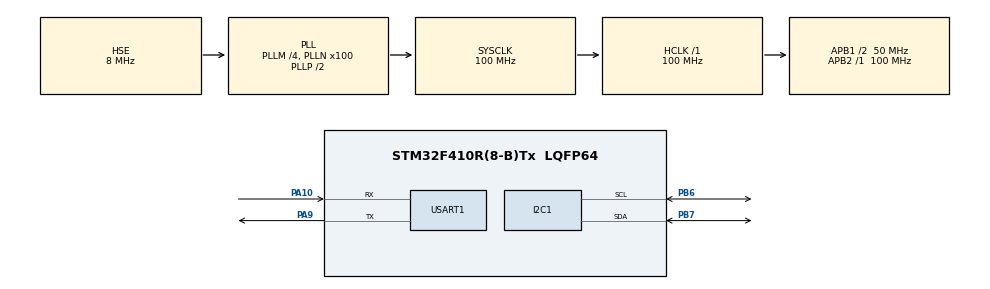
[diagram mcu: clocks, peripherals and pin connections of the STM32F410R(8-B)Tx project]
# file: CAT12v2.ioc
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Mcu.Family=STM32F4
Mcu.Name=STM32F410R(8-B)Tx
Mcu.Package=LQFP64
NVIC.PriorityGroup=NVIC_PRIORITYGROUP_4
PA10.Mode=Asynchronous
PA10.Signal=USART1_RX
PA13.Mode=Serial_Wire
PA13.Signal=SYS_JTMS-SWDIO
PA14.Mode=Serial_Wire
PA14.Signal=SYS_JTCK-SWCLK
PA9.Mode=Asynchronous
PA9.Signal=USART1_TX
PB6.Mode=I2C
PB6.Signal=I2C1_SCL
PB7.Mode=I2C
PB7.Signal=I2C1_SDA
PH0\ -\ OSC_IN.Mode=HSE-External-Clock-Source
PH0\ -\ OSC_IN.Signal=RCC_OSC_IN
PH1\ -\ OSC_OUT.Mode=HSE-External-Clock-Source
PH1\ -\ OSC_OUT.Signal=RCC_OSC_OUT
ProjectManager.HeapSize=0x200
ProjectManager.StackSize=0x400
ProjectManager.TargetToolchain=MDK-ARM V5.32
RCC.48MHZClocksFreq_Value=50000000
RCC.AHBFreq_Value=100000000
RCC.APB1CLKDivider=RCC_HCLK_DIV2
RCC.APB1Freq_Value=50000000
RCC.APB1TimFreq_Value=100000000
RCC.APB2Freq_Value=100000000
RCC.APB2TimFreq_Value=100000000
RCC.CortexFreq_Value=100000000
RCC.HCLKFreq_Value=100000000
RCC.HSE_VALUE=8000000
RCC.HSI_VALUE=16000000
RCC.LSE_VALUE=32768
RCC.PLLM=4
RCC.PLLN=100
RCC.PLLSourceVirtual=RCC_PLLSOURCE_HSE
RCC.SYSCLKFreq_VALUE=100000000
RCC.SYSCLKSource=RCC_SYSCLKSOURCE_PLLCLK
RCC.VCOOutputFreq_Value=200000000
USART1.VirtualMode=VM_ASYNC
board=custom

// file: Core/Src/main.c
/* USER CODE BEGIN Header */
/**
  ******************************************************************************
  * @file           : main.c
  * @brief          : Main program body
  ******************************************************************************
  * @attention
  *
  * Copyright (c) 2026 STMicroelectronics.
  * All rights reserved.
  *
  * This software is licensed under terms that can be found in the LICENSE file
  * in the root directory of this software component.
  * If no LICENSE file comes with this software, it is provided AS-IS.
  *
  ******************************************************************************
  */
/* USER CODE END Header */
#include "main.h"

/* USER CODE BEGIN Includes */
#include "bme280.h"
#include <stdio.h>
/* USER CODE END Includes */

/* USER CODE BEGIN PD */
#define I2C_TIMEOUT_MS   100U
/* USER CODE END PD */

I2C_HandleTypeDef hi2c1;

UART_HandleTypeDef huart1;

/* USER CODE BEGIN PV */
struct bme280_dev dev;
struct bme280_settings settings;
struct bme280_data comp_data;
int8_t rslt = BME280_OK;
uint8_t chip_id = 0;
uint32_t meas_delay_us = 0;

/* I2C address of the sensor: 0x76 (SDO low) or 0x77 (SDO high) */
static uint8_t dev_addr = BME280_I2C_ADDR_PRIM;

/* Final calculated values */
float temperature, pressure, humidity;
/* USER CODE END PV */

void SystemClock_Config(void);
static void MX_GPIO_Init(void);
static void MX_I2C1_Init(void);
static void MX_USART1_UART_Init(void);
/* USER CODE BEGIN PFP */
int8_t user_i2c_read(uint8_t reg_addr, uint8_t *reg_data, uint32_t len, void *intf_ptr);
int8_t user_i2c_write(uint8_t reg_addr, const uint8_t *reg_data, uint32_t len, void *intf_ptr);
void user_delay_us(uint32_t period, void *intf_ptr);
/* USER CODE END PFP */

int main(void)
{

  /* MCU Configuration--------------------------------------------------------*/

  /* Reset of all peripherals, Initializes the Flash interface and the Systick. */
  HAL_Init();

  /* Configure the system clock */
  SystemClock_Config();

  /* Initialize all configured peripherals */
  MX_GPIO_Init();
  MX_I2C1_Init();
  MX_USART1_UART_Init();

  /* USER CODE BEGIN 2 */

  /* Hook the Bosch driver up to the STM32 HAL I2C functions */
  dev.intf_ptr = &dev_addr;
  dev.intf     = BME280_I2C_INTF;
  dev.read     = user_i2c_read;
  dev.write    = user_i2c_write;
  dev.delay_us = user_delay_us;

  /* Read chip ID (register 0xD0) and check it */
  rslt = bme280_get_regs(BME280_REG_CHIP_ID, &chip_id, 1, &dev);
  if (rslt != BME280_OK || chip_id != BME280_CHIP_ID)
  {
    printf("BME280 not found (rslt=%d, chip_id=0x%02X)\r\n", rslt, chip_id);
    Error_Handler();
  }

  /* Soft reset and load trim (calibration) data */
  rslt = bme280_init(&dev);
  if (rslt != BME280_OK)
  {
    printf("bme280_init failed (rslt=%d)\r\n", rslt);
    Error_Handler();
  }

  /* Configure sensor: oversampling, filter, standby time */
  settings.osr_h        = BME280_OVERSAMPLING_1X;
  settings.osr_p        = BME280_OVERSAMPLING_1X;
  settings.osr_t        = BME280_OVERSAMPLING_1X;
  settings.filter       = BME280_FILTER_COEFF_OFF;
  settings.standby_time = BME280_STANDBY_TIME_1000_MS;

  rslt = bme280_set_sensor_settings(BME280_SEL_OSR_PRESS | BME280_SEL_OSR_TEMP |
                                    BME280_SEL_OSR_HUM   | BME280_SEL_FILTER   |
                                    BME280_SEL_STANDBY, &settings, &dev);
  if (rslt != BME280_OK)
  {
    printf("bme280_set_sensor_settings failed (rslt=%d)\r\n", rslt);
    Error_Handler();
  }

  /* Sensor mode: normal = continuous measurement cycle */
  rslt = bme280_set_sensor_mode(BME280_POWERMODE_NORMAL, &dev);
  if (rslt != BME280_OK)
  {
    printf("bme280_set_sensor_mode failed (rslt=%d)\r\n", rslt);
    Error_Handler();
  }

  /* Wait for the first conversion to complete */
  bme280_cal_meas_delay(&meas_delay_us, &settings);
  dev.delay_us(meas_delay_us, dev.intf_ptr);

  printf("BME280 ready (chip ID 0x%02X)\r\n", chip_id);

  /* USER CODE END 2 */

  /* Infinite loop */
  while (1)
  {

    /* USER CODE BEGIN 3 */
    /* Read raw data and apply Bosch compensation */
    rslt = bme280_get_sensor_data(BME280_ALL, &comp_data, &dev);

    if (rslt == BME280_OK)
    {
      /* Default build (BME280_DOUBLE_ENABLE): degC, Pa, %RH */
      temperature = (float)comp_data.temperature;        /* degC */
      pressure    = (float)comp_data.pressure / 100.0f;  /* Pa -> hPa */
      humidity    = (float)comp_data.humidity;           /* %RH */

      printf("T = %.2f C   P = %.2f hPa   H = %.2f %%\r\n",temperature, pressure, humidity);
    }
    else
    {
      printf("Read error (rslt=%d)\r\n", rslt);
    }

    HAL_Delay(1000); /* Poll once per second */
  }
  /* USER CODE END 3 */
}

void SystemClock_Config(void)
{
  RCC_OscInitTypeDef RCC_OscInitStruct = {0};
  RCC_ClkInitTypeDef RCC_ClkInitStruct = {0};

  /** Configure the main internal regulator output voltage
  */
  __HAL_RCC_PWR_CLK_ENABLE();
  __HAL_PWR_VOLTAGESCALING_CONFIG(PWR_REGULATOR_VOLTAGE_SCALE1);

  /** Initializes the RCC Oscillators according to the specified parameters
  * in the RCC_OscInitTypeDef structure.
  */
  RCC_OscInitStruct.OscillatorType = RCC_OSCILLATORTYPE_HSE;
  RCC_OscInitStruct.HSEState = RCC_HSE_BYPASS;
  RCC_OscInitStruct.PLL.PLLState = RCC_PLL_ON;
  RCC_OscInitStruct.PLL.PLLSource = RCC_PLLSOURCE_HSE;
  RCC_OscInitStruct.PLL.PLLM = 4;
  RCC_OscInitStruct.PLL.PLLN = 100;
  RCC_OscInitStruct.PLL.PLLP = RCC_PLLP_DIV2;
  RCC_OscInitStruct.PLL.PLLQ = 4;
  RCC_OscInitStruct.PLL.PLLR = 2;
  if (HAL_RCC_OscConfig(&RCC_OscInitStruct) != HAL_OK)
  {
    Error_Handler();
  }

  /** Initializes the CPU, AHB and APB buses clocks
  */
  RCC_ClkInitStruct.ClockType = RCC_CLOCKTYPE_HCLK|RCC_CLOCKTYPE_SYSCLK
                              |RCC_CLOCKTYPE_PCLK1|RCC_CLOCKTYPE_PCLK2;
  RCC_ClkInitStruct.SYSCLKSource = RCC_SYSCLKSOURCE_PLLCLK;
  RCC_ClkInitStruct.AHBCLKDivider = RCC_SYSCLK_DIV1;
  RCC_ClkInitStruct.APB1CLKDivider = RCC_HCLK_DIV2;
  RCC_ClkInitStruct.APB2CLKDivider = RCC_HCLK_DIV1;

  if (HAL_RCC_ClockConfig(&RCC_ClkInitStruct, FLASH_LATENCY_3) != HAL_OK)
  {
    Error_Handler();
  }
}

static void MX_I2C1_Init(void)
{

  hi2c1.Instance = I2C1;
  hi2c1.Init.ClockSpeed = 100000;
  hi2c1.Init.DutyCycle = I2C_DUTYCYCLE_2;
  hi2c1.Init.OwnAddress1 = 0;
  hi2c1.Init.AddressingMode = I2C_ADDRESSINGMODE_7BIT;
  hi2c1.Init.DualAddressMode = I2C_DUALADDRESS_DISABLE;
  hi2c1.Init.OwnAddress2 = 0;
  hi2c1.Init.GeneralCallMode = I2C_GENERALCALL_DISABLE;
  hi2c1.Init.NoStretchMode = I2C_NOSTRETCH_DISABLE;
  if (HAL_I2C_Init(&hi2c1) != HAL_OK)
  {
    Error_Handler();
  }

}

static void MX_USART1_UART_Init(void)
{

  huart1.Instance = USART1;
  huart1.Init.BaudRate = 115200;
  huart1.Init.WordLength = UART_WORDLENGTH_8B;
  huart1.Init.StopBits = UART_STOPBITS_1;
  huart1.Init.Parity = UART_PARITY_NONE;
  huart1.Init.Mode = UART_MODE_TX_RX;
  huart1.Init.HwFlowCtl = UART_HWCONTROL_NONE;
  huart1.Init.OverSampling = UART_OVERSAMPLING_16;
  if (HAL_UART_Init(&huart1) != HAL_OK)
  {
    Error_Handler();
  }

}

static void MX_GPIO_Init(void)
{

  /* GPIO Ports Clock Enable */
  __HAL_RCC_GPIOH_CLK_ENABLE();
  __HAL_RCC_GPIOA_CLK_ENABLE();
  __HAL_RCC_GPIOB_CLK_ENABLE();

}

/* USER CODE BEGIN 4 */

/* Bosch driver -> STM32 HAL: read registers */
int8_t user_i2c_read(uint8_t reg_addr, uint8_t *reg_data, uint32_t len, void *intf_ptr)
{
  /* HAL expects the 7-bit address shifted left by 1 */
  uint8_t addr = *(uint8_t *)intf_ptr;

  if (HAL_I2C_Mem_Read(&hi2c1, (uint16_t)(addr << 1), reg_addr,
                       I2C_MEMADD_SIZE_8BIT, reg_data, (uint16_t)len,
                       I2C_TIMEOUT_MS) == HAL_OK)
  {
    return BME280_OK;
  }
  return BME280_E_COMM_FAIL;
}

/* Bosch driver -> STM32 HAL: write registers */
int8_t user_i2c_write(uint8_t reg_addr, const uint8_t *reg_data, uint32_t len, void *intf_ptr)
{
  uint8_t addr = *(uint8_t *)intf_ptr;

  if (HAL_I2C_Mem_Write(&hi2c1, (uint16_t)(addr << 1), reg_addr,
                        I2C_MEMADD_SIZE_8BIT, (uint8_t *)reg_data, (uint16_t)len,
                        I2C_TIMEOUT_MS) == HAL_OK)
  {
    return BME280_OK;
  }
  return BME280_E_COMM_FAIL;
}

/* Bosch driver -> STM32 HAL: delay (driver passes microseconds) */
void user_delay_us(uint32_t period, void *intf_ptr)
{
  (void)intf_ptr;
  /* HAL_Delay is in ms; round up so we never wait too little */
  HAL_Delay((period / 1000U) + 1U);
}

/* Retarget printf to USART1 */
int _write(int file, char *ptr, int len)
{
  (void)file;
  HAL_UART_Transmit(&huart1, (uint8_t *)ptr, (uint16_t)len, 100);
  return len;
}

/* USER CODE END 4 */

void Error_Handler(void)
{
  __disable_irq();
  while (1)
  {
  }
}
